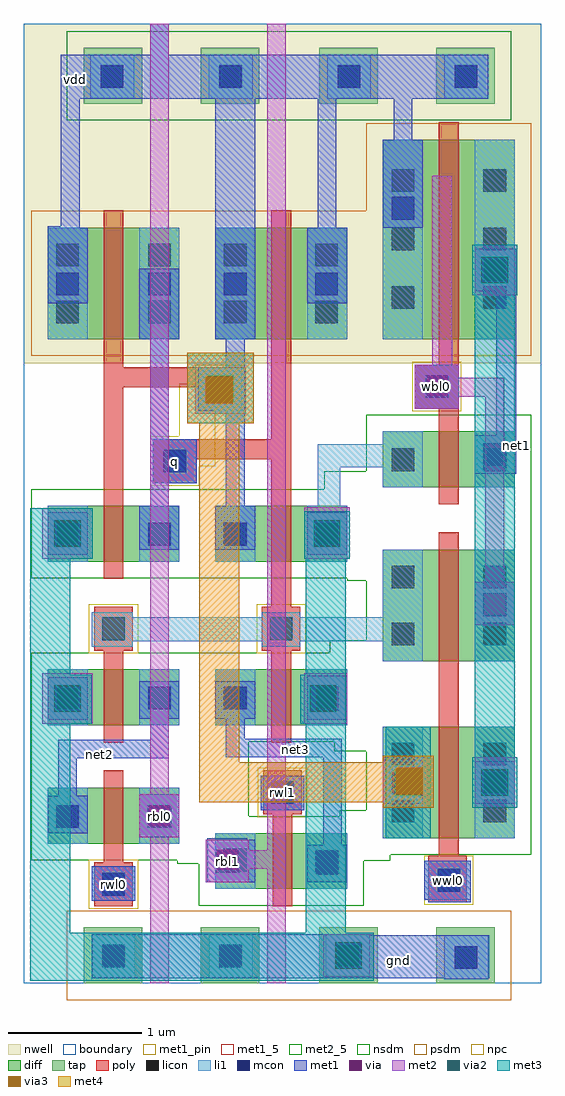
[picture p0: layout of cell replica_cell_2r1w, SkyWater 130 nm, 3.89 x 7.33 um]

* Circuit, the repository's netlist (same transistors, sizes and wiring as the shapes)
.subckt replica_cell_2r1w rbl0 rbl1 wbl0 rwl0 rwl1 wwl0 vdd gnd
* SPICE3 file created from rf21_layout.ext - technology: sky130A


X0 net1 wbl0 vdd vdd sky130_fd_pr__pfet_01v8 ad=0 pd=0 as=0 ps=0 w=1.50 l=0.15
X1 wbl0 wwl0 q gnd sky130_fd_pr__nfet_01v8 ad=0 pd=0 as=0 ps=0 w=0.84 l=0.15
X2 net1 wbl0 gnd gnd sky130_fd_pr__nfet_01v8 ad=0 pd=0 as=0 ps=0 w=0.42 l=0.15
X3 q vdd gnd gnd sky130_fd_pr__nfet_01v8 ad=0 pd=0 as=0 ps=0 w=0.42 l=0.15
X4 net2 q gnd gnd sky130_fd_pr__nfet_01v8 ad=0 pd=0 as=0 ps=0 w=0.42 l=0.15
X5 q vdd vdd vdd sky130_fd_pr__pfet_01v8 ad=0 pd=0 as=0 ps=0 w=0.84 l=0.15
X6 vdd q vdd vdd sky130_fd_pr__pfet_01v8 ad=0 pd=0 as=0 ps=0 w=0.84 l=0.15
X7 net3 rwl1 rbl1 gnd sky130_fd_pr__nfet_01v8 ad=0 pd=0 as=0 ps=0 w=0.42 l=0.15
X8 net1 wwl0 vdd gnd sky130_fd_pr__nfet_01v8 ad=0 pd=0 as=0 ps=0 w=0.84 l=0.15
X9 gnd q vdd gnd sky130_fd_pr__nfet_01v8 ad=0 pd=0 as=0 ps=0 w=0.42 l=0.15
X10 gnd q net3 gnd sky130_fd_pr__nfet_01v8 ad=0 pd=0 as=0 ps=0 w=0.42 l=0.15
X11 rbl0 rwl0 net2 gnd sky130_fd_pr__nfet_01v8 ad=0 pd=0 as=0 ps=0 w=0.42 l=0.15
.ends

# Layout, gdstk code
import gdstk
lib = gdstk.Library(unit=1e-6, precision=1e-09)
def R(c, l, rs):  # rectangles x0, y0, x1, y1
    for r in rs: c.add(gdstk.rectangle(r[:2], r[2:], *l))
def A(c, l, x, y, w, h, nx, ny, dx, dy):  # array of equal rectangles
    R(c, l, [(x+i*dx, y+j*dy, x+i*dx+w, y+j*dy+h) for i in range(nx) for j in range(ny)])
nwell = (64, 20)
diff = (65, 20)
tap = (65, 44)
poly = (66, 20)
licon = (66, 44)
li1 = (67, 20)
mcon = (67, 44)
met1_5 = (68, 5)
met1_pin = (68, 16)
met1 = (68, 20)
via = (68, 44)
met2_5 = (69, 5)
met2 = (69, 20)
via2 = (69, 44)
met3 = (70, 20)
via3 = (70, 44)
met4 = (71, 20)
nsdm = (93, 44)
psdm = (94, 20)
npc = (95, 20)
boundary = (235, 4)

replica_cell_2r1w = lib.new_cell('replica_cell_2r1w')
R(replica_cell_2r1w, nwell, [(4.72,-0.92,8.61,1.63)])
A(replica_cell_2r1w, diff, 6.16, -4.87, 0.99, 0.42, 1, 3, 0, 1.23)
R(replica_cell_2r1w, diff, [(4.9,-4.53,5.89,-4.11), (7.42,-4.49,8.41,-3.65), (4.9,-3.64,5.89,-3.22), (7.42,-3.16,8.41,-2.32), (4.9,-2.41,5.89,-1.99), (7.42,-1.85,8.41,-1.43), (4.9,-0.74,5.89,0.1), (6.16,-0.74,7.15,0.1), (7.42,-0.74,8.41,0.76)])
R(replica_cell_2r1w, tap, [(5.17,-5.58,5.61,-5.16), (6.05,-5.58,6.49,-5.16), (6.94,-5.58,7.38,-5.16), (7.82,-5.58,8.26,-5.16), (5.17,1.03,5.61,1.45), (6.05,1.03,6.49,1.45), (6.94,1.03,7.38,1.45), (7.82,1.03,8.26,1.45)])
R(replica_cell_2r1w, poly, [(5.25,-5,5.54,-4.67), (6.59,-5,6.74,-4.31), (7.76,-4.97,8.05,-4.62), (5.32,-4.67,5.47,-3.98), (7.84,-4.62,7.99,-2.19), (6.52,-4.31,6.81,-3.98), (5.32,-3.77,5.47,-3.08), (6.58,-3.77,6.73,-3.08), (5.25,-3.08,5.54,-2.75), (6.51,-3.08,6.8,-2.75), (6.58,-2.75,6.73,-1.64), (5.32,-2.54,5.47,-1.1), (7.84,-1.98,7.99,-1.26), (5.69,-1.82,6.02,-1.64), (5.69,-1.64,6.73,-1.49), (6.58,-1.49,6.73,0.23), (6.03,-1.28,6.36,-1.1), (7.66,-1.26,7.99,-0.93), (5.32,-1.1,6.36,-0.95), (5.32,-0.95,5.47,0.23), (7.84,-0.93,7.99,0.89)])
A(replica_cell_2r1w, licon, 5.31, -5.46, 0.17, 0.17, 3, 1, 0.88, 0)
A(replica_cell_2r1w, licon, 6.915, -4.75, 0.17, 0.17, 1, 3, 0, 1.23)
A(replica_cell_2r1w, licon, 7.485, -0.51, 0.17, 0.17, 1, 3, 0, 0.44)
A(replica_cell_2r1w, licon, 8.175, -0.51, 0.17, 0.17, 1, 3, 0, 0.44)
A(replica_cell_2r1w, licon, 5.3, 1.15, 0.17, 0.17, 3, 1, 0.89, 0)
R(replica_cell_2r1w, licon, [(7.96,-5.47,8.13,-5.3), (5.31,-4.92,5.48,-4.75), (7.83,-4.89,8,-4.72), (6.225,-4.74,6.395,-4.57), (4.965,-4.41,5.135,-4.24), (5.655,-4.41,5.825,-4.24), (7.485,-4.37,7.655,-4.2), (8.175,-4.37,8.345,-4.2), (6.58,-4.23,6.75,-4.06), (7.485,-3.94,7.655,-3.77), (8.175,-3.94,8.345,-3.77), (5.655,-3.52,5.825,-3.35), (6.225,-3.52,6.395,-3.35), (4.965,-3.51,5.135,-3.34), (7.485,-3.04,7.655,-2.87), (8.175,-3.04,8.345,-2.87), (5.31,-3,5.48,-2.83), (6.57,-3,6.74,-2.83), (7.485,-2.61,7.655,-2.44), (8.175,-2.61,8.345,-2.44), (5.655,-2.29,5.825,-2.12), (6.225,-2.29,6.395,-2.12), (4.965,-2.28,5.135,-2.11), (5.77,-1.74,5.94,-1.57), (7.485,-1.73,7.655,-1.56), (8.175,-1.73,8.345,-1.56), (6.11,-1.2,6.28,-1.03), (7.74,-1.18,7.91,-1.01), (4.965,-0.62,5.135,-0.45), (5.655,-0.62,5.825,-0.45), (6.225,-0.62,6.395,-0.45), (6.91,-0.62,7.08,-0.45), (4.965,-0.19,5.135,-0.02), (5.655,-0.19,5.825,-0.02), (6.225,-0.19,6.395,-0.02), (6.91,-0.19,7.08,-0.02), (7.96,1.15,8.13,1.32)])
A(replica_cell_2r1w, li1, 5.23, -5.54, 0.33, 0.33, 3, 1, 0.88, 0)
A(replica_cell_2r1w, li1, 6.16, -4.87, 0.3, 0.42, 1, 3, 0, 1.23)
A(replica_cell_2r1w, li1, 6.85, -4.87, 0.3, 0.42, 1, 3, 0, 1.23)
A(replica_cell_2r1w, li1, 5.22, 1.07, 0.33, 0.33, 3, 1, 0.89, 0)
R(replica_cell_2r1w, li1, [(7.88,-5.55,8.21,-5.22), (5.23,-4.96,5.56,-4.7), (7.73,-4.95,8.08,-4.66), (4.9,-4.53,5.2,-4.11), (5.59,-4.53,5.89,-4.11), (7.42,-4.49,7.72,-3.65), (8.11,-4.49,8.41,-3.65), (6.5,-4.28,6.83,-4.02), (4.9,-3.64,5.2,-3.22), (5.59,-3.64,5.89,-3.22), (7.42,-3.16,7.72,-3.01), (8.11,-3.16,8.41,-2.32), (5.23,-3.05,5.54,-3.01), (6.51,-3.05,6.8,-3.01), (5.23,-3.01,7.72,-2.83), (5.23,-2.83,5.54,-2.79), (6.51,-2.83,6.8,-2.79), (7.42,-2.83,7.72,-2.32), (4.9,-2.41,5.2,-1.99), (5.59,-2.41,5.89,-1.99), (6.93,-1.99,7.1,-1.7), (7.42,-1.85,7.72,-1.7), (8.11,-1.85,8.41,-1.43), (5.69,-1.82,6.02,-1.49), (6.93,-1.7,7.72,-1.53), (7.42,-1.53,7.72,-1.43), (6.03,-1.28,6.36,-0.95), (7.66,-1.26,7.99,-0.93), (4.9,-0.74,5.2,0.1), (5.59,-0.74,5.89,0.1), (6.16,-0.74,6.46,0.1), (6.85,-0.74,7.15,0.1), (7.42,-0.74,7.72,0.76), (8.11,-0.74,8.41,0.76), (7.88,1.07,8.21,1.4)])
A(replica_cell_2r1w, mcon, 5.31, -5.46, 0.17, 0.17, 3, 1, 0.88, 0)
A(replica_cell_2r1w, mcon, 5.3, 1.15, 0.17, 0.17, 3, 1, 0.89, 0)
R(replica_cell_2r1w, mcon, [(7.96,-5.47,8.13,-5.3), (5.31,-4.92,5.48,-4.75), (7.83,-4.89,8,-4.72), (6.915,-4.76,7.085,-4.59), (6.165,-4.75,6.335,-4.58), (4.965,-4.41,5.135,-4.24), (5.655,-4.41,5.825,-4.24), (6.58,-4.23,6.75,-4.06), (7.485,-4.16,7.655,-3.99), (8.175,-4.15,8.345,-3.98), (6.915,-3.53,7.085,-3.36), (4.965,-3.52,5.135,-3.35), (5.655,-3.52,5.825,-3.35), (6.225,-3.52,6.395,-3.35), (8.175,-2.82,8.345,-2.65), (4.965,-2.29,5.135,-2.12), (5.655,-2.29,5.825,-2.12), (6.225,-2.29,6.395,-2.12), (6.915,-2.29,7.085,-2.12), (5.77,-1.74,5.94,-1.57), (8.175,-1.69,8.345,-1.52), (6.11,-1.2,6.28,-1.03), (7.74,-1.18,7.91,-1.01), (4.965,-0.41,5.135,-0.24), (5.655,-0.41,5.825,-0.24), (6.225,-0.41,6.395,-0.24), (6.91,-0.41,7.08,-0.24), (8.175,-0.3,8.345,-0.13), (7.485,0.16,7.655,0.33), (7.96,1.15,8.13,1.32)])
R(replica_cell_2r1w, met1_5, [(5.31,-4.92,5.48,-4.75), (7.83,-4.89,8,-4.72), (6.58,-4.23,6.75,-4.06)])
R(replica_cell_2r1w, met1_pin, [(5.77,-1.74,5.94,-1.57)])
R(replica_cell_2r1w, met1, [(7.88,-5.55,8.21,-5.54), (5.23,-5.54,8.22,-5.22), (5.23,-5.22,7.32,-5.21), (7.76,-4.97,8.08,-4.95), (5.23,-4.96,5.56,-4.7), (7.73,-4.95,8.08,-4.66), (6.1,-4.82,6.46,-4.5), (6.85,-4.82,7.15,-4.54), (6.97,-4.54,7.11,-3.88), (6.1,-4.5,6.4,-4.49), (5.59,-4.48,5.89,-4.16), (4.9,-4.45,5.2,-4.17), (6.5,-4.28,6.83,-4.02), (7.42,-4.23,7.72,-3.9), (8.11,-4.23,8.41,-3.91), (4.98,-4.17,5.12,-3.89), (4.98,-3.89,5.81,-3.75), (6.24,-3.88,7.11,-3.74), (5.67,-3.75,5.81,-3.59), (6.24,-3.74,6.38,-3.59), (4.9,-3.6,5.2,-3.28), (6.85,-3.6,7.15,-3.27), (5.59,-3.59,5.89,-3.31), (6.16,-3.59,6.46,-3.31), (8.11,-2.89,8.41,-2.56), (4.9,-2.36,5.2,-2.04), (6.85,-2.36,7.15,-2.04), (5.59,-2.32,5.89,-1.99), (6.16,-2.32,6.46,-1.99), (5.67,-1.99,5.81,-1.82), (6.24,-1.99,6.38,-1.3), (5.67,-1.82,6.02,-1.49), (8.11,-1.75,8.42,-1.46), (5.67,-1.49,5.81,-0.74), (8.27,-1.46,8.42,-0.38), (6.16,-1.3,6.38,-1.28), (6.03,-1.28,6.38,-0.95), (7.66,-1.26,7.99,-0.93), (6.24,-0.95,6.38,-0.74), (5.59,-0.74,5.89,-0.21), (6.16,-0.74,6.46,1.07), (4.9,-0.47,5.2,0.1), (6.85,-0.47,7.15,0.1), (8.11,-0.38,8.42,-0.06), (4.9,0.1,5.14,0.11), (6.93,0.1,7.07,1.07), (7.42,0.1,7.72,0.76), (5,0.11,5.14,1.07), (7.5,0.76,7.64,1.07), (5,1.07,8.21,1.4), (5.67,1.4,5.81,1.63)])
R(replica_cell_2r1w, via, [(7.085,-5.445,7.235,-5.295), (6.175,-4.725,6.325,-4.575), (5.665,-4.395,5.815,-4.245), (7.495,-4.145,7.645,-3.995), (8.185,-4.145,8.335,-3.995), (4.975,-3.515,5.125,-3.365), (6.925,-3.51,7.075,-3.36), (8.185,-2.805,8.335,-2.655), (4.975,-2.275,5.125,-2.125), (6.925,-2.275,7.075,-2.125), (6.125,-1.185,6.275,-1.035), (7.755,-1.165,7.905,-1.015), (8.185,-0.295,8.335,-0.145)])
R(replica_cell_2r1w, met2_5, [(6.16,-4.75,6.34,-4.58), (5.65,-4.41,5.83,-4.24), (7.74,-1.18,7.91,-1.01)])
R(replica_cell_2r1w, met2, [(5.67,-5.58,5.81,-4.48), (6.55,-5.58,6.69,-4.72), (6.97,-5.53,7.35,-5.21), (6.09,-4.82,6.41,-4.72), (6.09,-4.72,6.69,-4.58), (6.09,-4.58,6.41,-4.5), (6.55,-4.58,6.69,1.63), (5.59,-4.48,5.89,-4.16), (7.42,-4.26,7.76,-3.88), (8.11,-4.26,8.41,-3.88), (5.67,-4.16,5.81,1.63), (4.86,-3.63,5.24,-3.25), (6.83,-3.63,7.15,-3.25), (8.11,-2.89,8.41,-2.56), (8.19,-2.56,8.33,-1.17), (4.86,-2.39,5.24,-2.01), (6.83,-2.39,7.17,-2), (6.01,-1.3,6.39,-0.95), (7.66,-1.26,7.99,-1.17), (7.66,-1.17,8.33,-1.03), (7.66,-1.03,7.99,-0.93), (7.79,-0.93,7.94,0.49), (8.11,-0.41,8.41,-0.03)])
R(replica_cell_2r1w, via2, [(7.06,-5.47,7.26,-5.27), (7.51,-4.17,7.71,-3.97), (8.16,-4.17,8.36,-3.97), (4.95,-3.54,5.15,-3.34), (6.87,-3.54,7.07,-3.34), (4.95,-2.3,5.15,-2.1), (6.9,-2.3,7.1,-2.1), (6.1,-1.21,6.3,-1.01), (8.16,-0.32,8.36,-0.12)])
R(replica_cell_2r1w, met3, [(4.77,-5.56,7.35,-5.2), (4.77,-5.2,5.07,-3.63), (6.84,-5.2,7.14,-3.63), (7.44,-4.49,7.78,-3.65), (8.09,-4.26,8.43,-3.88), (8.11,-3.88,8.41,-0.41), (4.77,-3.63,5.23,-3.26), (6.8,-3.63,7.14,-3.26), (4.77,-3.26,5.07,-2.39), (6.84,-3.26,7.14,-2.39), (4.77,-2.39,5.24,-2.01), (6.83,-2.39,7.17,-2.03), (5.95,-1.37,6.45,-0.84), (8.09,-0.41,8.43,-0.03)])
R(replica_cell_2r1w, via3, [(7.52,-4.16,7.72,-3.96), (6.09,-1.22,6.29,-1.02)])
R(replica_cell_2r1w, met4, [(7.42,-4.26,7.8,-4.22), (6.04,-4.22,7.8,-3.92), (6.04,-3.92,6.34,-1.37), (7.42,-3.92,7.8,-3.87), (5.95,-1.37,6.45,-0.84)])
R(replica_cell_2r1w, nsdm, [(6.035,-4.995,7.275,-4.68), (5.875,-4.68,7.275,-4.66), (5.875,-4.66,7.475,-4.655), (4.775,-4.655,7.475,-4.615), (4.775,-4.615,8.535,-4.325), (4.775,-4.325,6.41,-3.765), (7.095,-4.325,8.535,-4.28), (7.295,-4.28,8.535,-3.835), (7.055,-3.835,8.535,-3.765), (4.775,-3.765,8.535,-3.095), (7.02,-3.095,8.535,-3), (7.295,-3,8.535,-2.555), (7.15,-2.555,8.535,-2.535), (4.775,-2.535,8.535,-1.865), (6.98,-1.865,8.535,-1.73), (7.295,-1.73,8.535,-1.305), (5.045,0.905,8.385,1.575)])
R(replica_cell_2r1w, psdm, [(5.045,-5.705,8.385,-5.035), (4.775,-0.865,8.535,0.225), (7.295,0.225,8.535,0.885)])
R(replica_cell_2r1w, npc, [(5.21,-5.02,5.58,-4.65), (7.73,-4.99,8.1,-4.62), (6.48,-4.33,6.85,-3.96), (5.21,-3.1,5.58,-2.73), (6.47,-3.1,6.84,-2.73), (5.67,-1.84,6.04,-1.695), (5.67,-1.695,6.16,-1.47), (5.89,-1.47,6.16,-1.3), (5.89,-1.3,6.38,-1.075), (7.64,-1.28,8.01,-0.91), (6.01,-1.075,6.38,-0.93)])
R(replica_cell_2r1w, boundary, [(4.72,-5.58,8.61,1.63)])
replica_cell_2r1w.add(gdstk.Label('vdd', (5.11,1.21), layer=68, texttype=16))
replica_cell_2r1w.add(gdstk.Label('gnd', (7.54,-5.41), layer=68, texttype=16))
replica_cell_2r1w.add(gdstk.Label('net2', (5.29,-3.86), layer=68, texttype=16))
replica_cell_2r1w.add(gdstk.Label('net3', (6.76,-3.82), layer=68, texttype=16))
replica_cell_2r1w.add(gdstk.Label('net1', (8.42,-1.54), layer=68, texttype=16))
replica_cell_2r1w.add(gdstk.Label('q', (5.855,-1.655), layer=68, texttype=16))
replica_cell_2r1w.add(gdstk.Label('rwl0', (5.395,-4.835), layer=68, texttype=5))
replica_cell_2r1w.add(gdstk.Label('rwl1', (6.665,-4.145), layer=68, texttype=5))
replica_cell_2r1w.add(gdstk.Label('rbl0', (5.74,-4.325), layer=69, texttype=5))
replica_cell_2r1w.add(gdstk.Label('rbl1', (6.25,-4.665), layer=69, texttype=5))
replica_cell_2r1w.add(gdstk.Label('wwl0', (7.915,-4.805), layer=68, texttype=5))
replica_cell_2r1w.add(gdstk.Label('wbl0', (7.825,-1.095), layer=69, texttype=5))

lib.write_gds('replica_cell_2r1w.gds')
